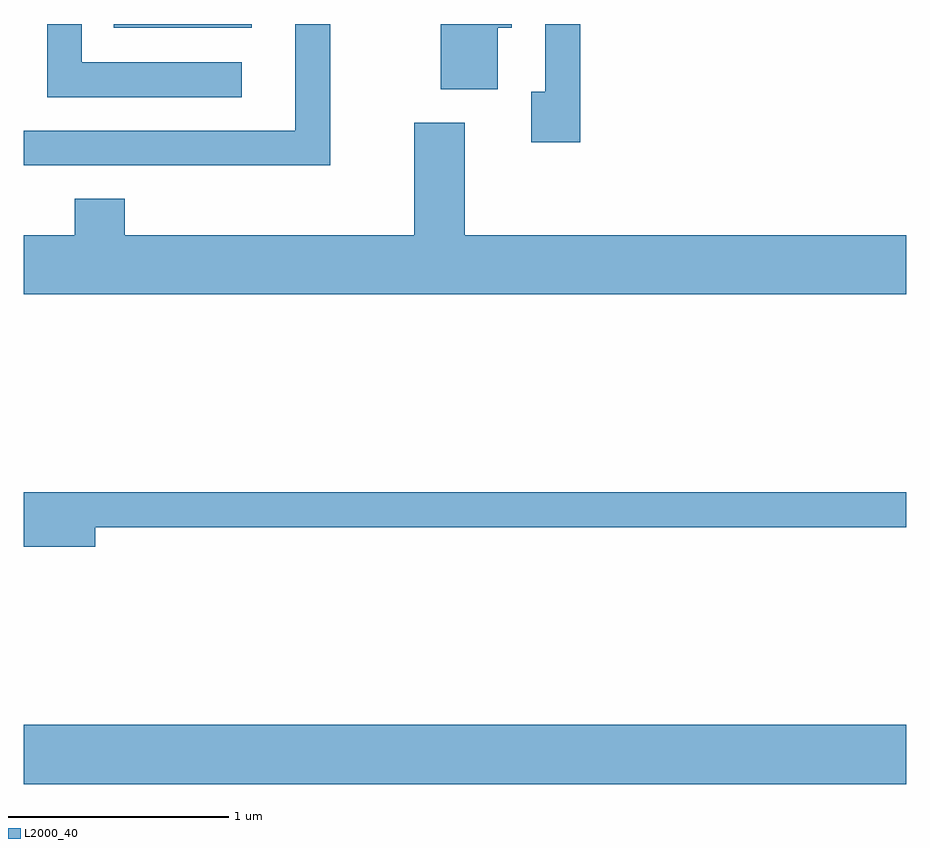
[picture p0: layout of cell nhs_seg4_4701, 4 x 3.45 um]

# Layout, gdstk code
import gdstk
lib = gdstk.Library(unit=1e-6, precision=1e-09)
def R(c, l, rs):  # rectangles x0, y0, x1, y1
    for r in rs: c.add(gdstk.rectangle(r[:2], r[2:], *l))
def P(c, l, *ps):  # polygons
    for p in ps: c.add(gdstk.Polygon(p, *l))
L2000_40 = (2000, 40)

nhs_seg4_4701 = lib.new_cell('nhs_seg4_4701')
R(nhs_seg4_4701, L2000_40, [(323.611,1272.536,327.611,1272.804), (324.018,1275.966,324.644,1275.982)])
P(nhs_seg4_4701, L2000_40, [(324.999,1275.982),(324.841,1275.982),(324.841,1275.499),(323.611,1275.499),(323.611,1275.341),(324.999,1275.341)],
  [(324.598,1275.809),(323.874,1275.809),(323.874,1275.982),(323.716,1275.982),(323.716,1275.651),(324.598,1275.651)],
  [(326.134,1275.982),(325.976,1275.982),(325.976,1275.674),(325.911,1275.674),(325.911,1275.446),(326.134,1275.446)],
  [(325.759,1275.966),(325.824,1275.966),(325.824,1275.982),(325.501,1275.982),(325.501,1275.686),(325.759,1275.686)],
  [(327.611,1275.024),(325.609,1275.024),(325.609,1275.534),(325.381,1275.534),(325.381,1275.024),(324.069,1275.024),(324.069,1275.189),(323.841,1275.189),(323.841,1275.024),(323.611,1275.024),(323.611,1274.756),(327.611,1274.756)],
  [(323.934,1273.701),(327.611,1273.701),(327.611,1273.859),(323.611,1273.859),(323.611,1273.611),(323.934,1273.611)])

lib.write_gds('nhs_seg4_4701.gds')
